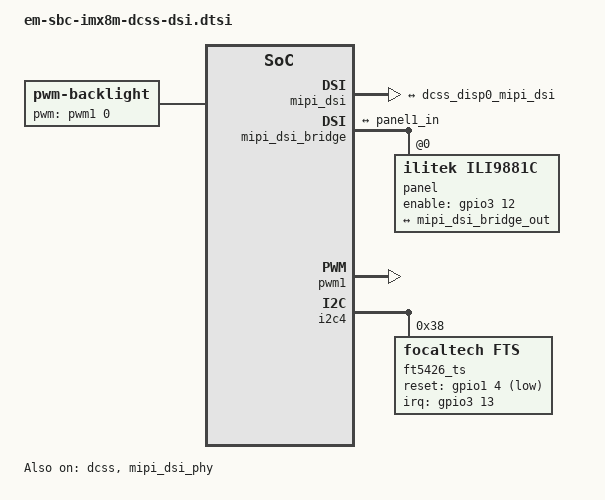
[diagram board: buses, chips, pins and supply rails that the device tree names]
/*
 * Copyright 2018 NXP
 *
 * This program is free software; you can redistribute it and/or
 * modify it under the terms of the GNU General Public License
 * as published by the Free Software Foundation; either version 2
 * of the License, or (at your option) any later version.
 *
 * This program is distributed in the hope that it will be useful,
 * but WITHOUT ANY WARRANTY; without even the implied warranty of
 * MERCHANTABILITY or FITNESS FOR A PARTICULAR PURPOSE.  See the
 * GNU General Public License for more details.
 */

/ {
	sound-hdmi {
		status = "disabled";
	};
};

&hdmi {
	status = "disabled";
};

&dcss {
	status = "okay";
	disp-dev = "mipi_disp";

	clocks = <&clk IMX8MQ_CLK_DISP_APB_ROOT>,
		 <&clk IMX8MQ_CLK_DISP_AXI_ROOT>,
		 <&clk IMX8MQ_CLK_DISP_RTRM_ROOT>,
		 <&clk IMX8MQ_CLK_DC_PIXEL>,
		 <&clk IMX8MQ_CLK_DUMMY>,
		 <&clk IMX8MQ_CLK_DISP_DTRC>;
	clock-names = "apb", "axi", "rtrm", "pix_div", "pix_out", "dtrc";

	assigned-clocks = <&clk IMX8MQ_CLK_DC_PIXEL>,
			  <&clk IMX8MQ_CLK_DISP_AXI>,
			  <&clk IMX8MQ_CLK_DISP_RTRM>,
			  <&clk IMX8MQ_VIDEO_PLL1_REF_SEL>,
			  <&clk IMX8MQ_VIDEO_PLL1>;
	assigned-clock-parents = <&clk IMX8MQ_VIDEO_PLL1_OUT>,
				 <&clk IMX8MQ_SYS1_PLL_800M>,
				 <&clk IMX8MQ_SYS1_PLL_800M>,
				 <&clk IMX8MQ_CLK_25M>;
	assigned-clock-rates = <600000000>,
			       <800000000>,
			       <0>,
			       <400000000>,
			       <599999999>;

	dcss_disp0: port@0 {
		reg = <0>;

		dcss_disp0_mipi_dsi: mipi_dsi {
			remote-endpoint = <&mipi_dsi_in>;
		};
	};
};

&mipi_dsi_phy {
	status = "okay";
};

&mipi_dsi {
	status = "okay";
	assigned-clocks = <&clk IMX8MQ_CLK_DSI_PHY_REF>,
			  <&clk IMX8MQ_CLK_DSI_CORE>,
			  <&clk IMX8MQ_VIDEO_PLL1_REF_SEL>,
			  <&clk IMX8MQ_VIDEO_PLL1>;
	assigned-clock-parents = <&clk IMX8MQ_VIDEO_PLL1_OUT>,
				 <&clk IMX8MQ_SYS1_PLL_266M>,
				 <&clk IMX8MQ_CLK_25M>;
	assigned-clock-rates = <24000000>,
			       <266000000>,
			       <0>,
			       <599999999>;

	port@1 {
		mipi_dsi_in: endpoint {
			remote-endpoint = <&dcss_disp0_mipi_dsi>;
		};
	};

};

&mipi_dsi_bridge {
	status = "okay";

	panel@0 {
		compatible = "ilitek,ili9881c";
		reg = <0>;
		pinctrl-0 = <&pinctrl_mipi_dsi_en>;
		enable-gpio = <&gpio3 12 GPIO_ACTIVE_HIGH>;
		dsi-lanes = <2>;

		port {
			panel1_in: endpoint {
				remote-endpoint = <&mipi_dsi_bridge_out>;
			};
		};
	};

	port@2 {
		mipi_dsi_bridge_out: endpoint {
			remote-endpoint = <&panel1_in>;
		};
	};
};

&iomuxc {
	imx8mq-evk {
		pinctrl_mipi_dsi_en: mipi_dsi_en {
			fsl,pins = <
				MX8MQ_IOMUXC_NAND_DATA06_GPIO3_IO12	0x16 /*DSI_EN*/
			>;
		};

		pinctrl_pwm1: pwm1_grp {
			fsl,pins = <
					MX8MQ_IOMUXC_GPIO1_IO01_PWM1_OUT  0x06
			>;
		};

		pinctrl_ts_ft5426: ft5426_pinsgrp {
			fsl,pins = <
				MX8MQ_IOMUXC_NAND_DATA07_GPIO3_IO13  0x19 /* DSI_TS_nINT */
				MX8MQ_IOMUXC_GPIO1_IO04_GPIO1_IO4   0x19 /* DSI_TS_RST */
			>;
		};
	};
};

/ {
	backlight {
			compatible = "pwm-backlight";
			pwms = <&pwm1 0 50000 0>;
            brightness-levels = <
                          0   1   2   3   4   5   6   7
                          8   9  10  11  12  13  14  15
                         16  17  18  19  20  21  22  23
                         24  25  26  27  28  29  30  31
                         32  33  34  35  36  37  38  39
                         40  41  42  43  44  45  46  47
                         48  49  50  51  52  53  54  55
                         56  57  58  59  60  61  62  63
                         64  65  66  67  68  69  70  71
                         72  73  74  75  76  77  78  79
                         80  81  82  83  84  85  86  87
                         88  89  90  91  92  93  94  95
                         96  97  98  99 100 101 102 103
                        104 105 106 107 108 109 110 111
                        112 113 114 115 116 117 118 119
                        120 121 122 123 124 125 126 127
                        128 129 130 131 132 133 134 135
                        136 137 138 139 140 141 142 143
                        144 145 146 147 148 149 150 151
                        152 153 154 155 156 157 158 159
                        160 161 162 163 164 165 166 167
                        168 169 170 171 172 173 174 175
                        176 177 178 179 180 181 182 183
                        184 185 186 187 188 189 190 191
                        192 193 194 195 196 197 198 199
                        200 201 202 203 204 205 206 207
                        208 209 210 211 212 213 214 215
                        216 217 218 219 220 221 222 223
                        224 225 226 227 228 229 230 231
                        232 233 234 235 236 237 238 239
                        240 241 242 243 244 245 246 247
                        248 249 250 251 252 253 254 255>;
            default-brightness-level = <150>;
			status = "okay";
	};
};

&pwm1 {
        pinctrl-names = "default";
        pinctrl-0 = <&pinctrl_pwm1>;
        status = "okay";
};


&i2c4 {
	ft5426_ts@38 {
			compatible = "focaltech,fts";
			reg = <0x38>;
			pinctrl-0 = <&pinctrl_ts_ft5426>;

			interrupt-parent = <&gpio3>;
			interrupts = <13 2>;
			focaltech,reset-gpio = <&gpio1 4 0x01>;
			focaltech,irq-gpio = <&gpio3 13 0x02>;
			focaltech,max-touch-number = <10>;
			focaltech,panel-type = <0x54260002>;/* _FT5426 */
			focaltech,display-coords =  <0 0 720 1280>;
			focaltech,have-key;
			focaltech,key-number = <3>;
			focaltech,keys = <139 102 158>;
			focaltech,key-y-coord = <2000>;
			focaltech,key-x-coords = <200 600 800>;
	};
};
